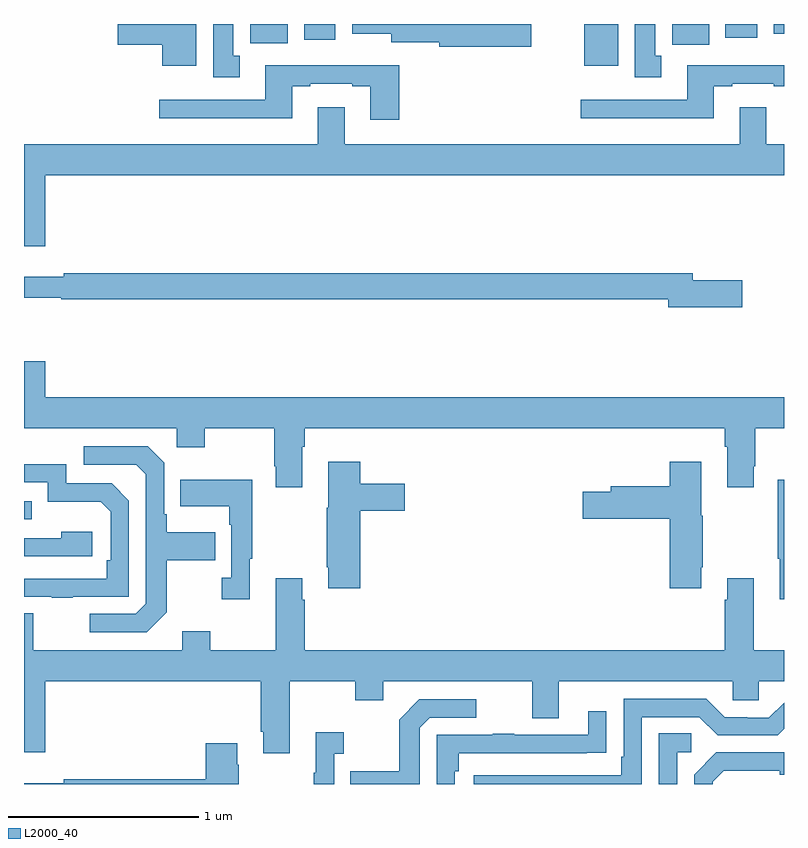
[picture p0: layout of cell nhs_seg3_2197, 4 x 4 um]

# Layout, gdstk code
import gdstk
lib = gdstk.Library(unit=1e-6, precision=1e-09)
def R(c, l, rs):  # rectangles x0, y0, x1, y1
    for r in rs: c.add(gdstk.rectangle(r[:2], r[2:], *l))
def P(c, l, *ps):  # polygons
    for p in ps: c.add(gdstk.Polygon(p, *l))
L2000_40 = (2000, 40)

nhs_seg3_2197 = lib.new_cell('nhs_seg3_2197')
R(nhs_seg3_2197, L2000_40, [(225,677.793,225.041,677.889), (227.948,680.18,228.127,680.4), (228.411,680.292,228.607,680.4), (226.19,680.3,226.387,680.4), (226.475,680.318,226.639,680.4), (228.692,680.328,228.859,680.4), (228.947,680.348,229,680.4)])
P(nhs_seg3_2197, L2000_40, [(227.671,680.4),(226.727,680.4),(226.727,680.348),(226.934,680.348),(226.934,680.303),(227.186,680.303),(227.186,680.279),(227.671,680.279)],
  [(225.907,680.4),(225.494,680.4),(225.494,680.291),(225.728,680.291),(225.728,680.18),(225.907,680.18)],
  [(226.135,680.234),(226.102,680.234),(226.102,680.4),(225.995,680.4),(225.995,680.121),(226.135,680.121)],
  [(228.355,680.233),(228.322,680.233),(228.322,680.4),(228.215,680.4),(228.215,680.121),(228.355,680.121)],
  [(226.976,680.182),(226.271,680.182),(226.271,680.001),(225.711,680.001),(225.711,679.904),(226.411,679.904),(226.411,680.073),(226.507,680.073),(226.507,680.085),(226.727,680.085),(226.727,680.073),(226.823,680.073),(226.823,679.896),(226.976,679.896)],
  [(228.631,680.073),(228.727,680.073),(228.727,680.085),(228.947,680.085),(228.947,680.073),(229,680.073),(229,680.182),(228.491,680.182),(228.491,680.001),(227.931,680.001),(227.931,679.904),(228.631,679.904)],
  [(225.112,679.604),(229,679.604),(229,679.768),(228.907,679.768),(228.907,679.963),(228.767,679.963),(228.767,679.768),(226.687,679.768),(226.687,679.963),(226.547,679.963),(226.547,679.768),(225,679.768),(225,679.23),(225.112,679.23)],
  [(228.781,679.052),(228.52,679.052),(228.52,679.088),(225.208,679.088),(225.208,679.069),(225,679.069),(225,678.96),(225.196,678.96),(225.196,678.952),(228.392,678.952),(228.392,678.91),(228.781,678.91)],
  [(226.465,678.176),(226.478,678.176),(226.478,678.272),(228.689,678.272),(228.689,678.176),(228.701,678.176),(228.701,677.961),(228.841,677.961),(228.841,678.073),(228.849,678.073),(228.849,678.272),(229,678.272),(229,678.436),(225.112,678.436),(225.112,678.625),(225,678.625),(225,678.272),(225.804,678.272),(225.804,678.173),(225.951,678.173),(225.951,678.272),(226.318,678.272),(226.318,678.073),(226.325,678.073),(226.325,677.961),(226.465,677.961)],
  [(225.751,677.305),(225.751,677.578),(226.007,677.578),(226.007,677.725),(225.751,677.725),(225.751,677.821),(225.738,677.821),(225.738,678.09),(225.651,678.177),(225.315,678.177),(225.315,678.081),(225.591,678.081),(225.642,678.03),(225.642,677.349),(225.588,677.295),(225.345,677.295),(225.345,677.199),(225.645,677.199)],
  [(226.769,677.837),(227.005,677.837),(227.005,677.979),(226.769,677.979),(226.769,678.097),(226.601,678.097),(226.601,677.853),(226.594,677.853),(226.594,677.542),(226.601,677.542),(226.601,677.43),(226.769,677.43)],
  [(228.565,677.542),(228.573,677.542),(228.573,677.811),(228.565,677.811),(228.565,678.097),(228.398,678.097),(228.398,677.967),(228.089,677.967),(228.089,677.937),(227.94,677.937),(227.94,677.795),(228.398,677.795),(228.398,677.43),(228.565,677.43)],
  [(225.257,677.385),(225.552,677.385),(225.552,677.892),(225.462,677.982),(225.222,677.982),(225.222,678.084),(225,678.084),(225,677.988),(225.126,677.988),(225.126,677.885),(225.403,677.885),(225.456,677.832),(225.456,677.578),(225.436,677.578),(225.436,677.481),(225,677.481),(225,677.385),(225.145,677.385),(225.145,677.38),(225.257,677.38)],
  [(226.189,677.585),(226.201,677.585),(226.201,678.001),(225.823,678.001),(225.823,677.861),(226.08,677.861),(226.08,677.765),(226.092,677.765),(226.092,677.486),(226.041,677.486),(226.041,677.373),(226.189,677.373)],
  [(229,678.001),(228.966,678.001),(228.966,677.585),(228.977,677.585),(228.977,677.373),(229,677.373)],
  [(225.358,677.728),(225.197,677.728),(225.197,677.694),(225,677.694),(225,677.598),(225.358,677.598)],
  [(226.399,676.94),(226.744,676.94),(226.744,676.841),(226.891,676.841),(226.891,676.94),(227.675,676.94),(227.675,676.746),(227.815,676.746),(227.815,676.94),(228.729,676.94),(228.729,676.842),(228.867,676.842),(228.867,676.94),(229,676.94),(229,677.104),(228.841,677.104),(228.841,677.482),(228.701,677.482),(228.701,677.369),(228.689,677.369),(228.689,677.104),(226.478,677.104),(226.478,677.369),(226.465,677.369),(226.465,677.482),(226.325,677.482),(226.325,677.104),(225.981,677.104),(225.981,677.203),(225.833,677.203),(225.833,677.104),(225.049,677.104),(225.049,677.299),(225,677.299),(225,676.566),(225.112,676.566),(225.112,676.94),(226.247,676.94),(226.247,676.675),(226.259,676.675),(226.259,676.563),(226.399,676.563)],
  [(228.252,676.752),(228.555,676.752),(228.651,676.656),(228.966,676.656),(229,676.69),(229,676.828),(228.921,676.749),(228.806,676.749),(228.806,676.752),(228.687,676.752),(228.591,676.848),(228.156,676.848),(228.156,676.543),(228.143,676.543),(228.143,676.446),(227.367,676.446),(227.367,676.4),(228.252,676.4)],
  [(227.082,676.695),(227.136,676.749),(227.38,676.749),(227.38,676.845),(227.079,676.845),(226.974,676.739),(226.974,676.467),(226.717,676.467),(226.717,676.4),(227.082,676.4)],
  [(227.268,676.466),(227.288,676.466),(227.288,676.563),(227.963,676.563),(227.963,676.564),(228.065,676.564),(228.065,676.783),(227.969,676.783),(227.969,676.659),(227.579,676.659),(227.579,676.664),(227.467,676.664),(227.467,676.659),(227.172,676.659),(227.172,676.4),(227.268,676.4)],
  [(226.632,676.559),(226.684,676.559),(226.684,676.672),(226.535,676.672),(226.535,676.459),(226.524,676.459),(226.524,676.4),(226.632,676.4)],
  [(228.438,676.566),(228.511,676.566),(228.511,676.667),(228.342,676.667),(228.342,676.4),(228.438,676.4)],
  [(226.131,676.502),(226.123,676.502),(226.123,676.615),(225.956,676.615),(225.956,676.424),(225.208,676.424),(225.208,676.405),(225,676.405),(225,676.4),(226.131,676.4)],
  [(228.625,676.413),(228.682,676.47),(228.977,676.47),(228.977,676.448),(229,676.448),(229,676.566),(228.644,676.566),(228.528,676.45),(228.528,676.4),(228.625,676.4)])

lib.write_gds('nhs_seg3_2197.gds')
